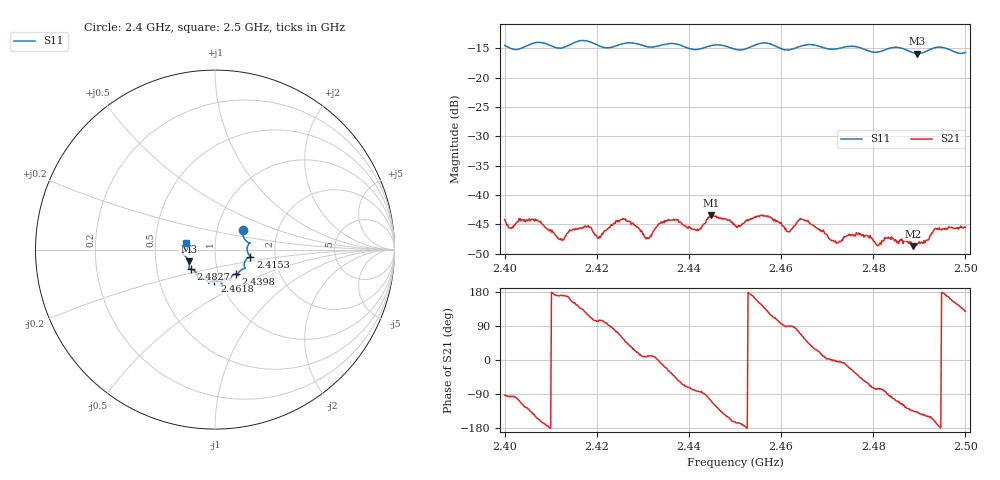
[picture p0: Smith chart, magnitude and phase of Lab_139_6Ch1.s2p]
# Hz S RI R 50
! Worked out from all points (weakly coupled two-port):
!   601 points, 2.4 GHz to 2.5 GHz, reference 50 ohm
!   highest |S21| = -43.42 dB at 2.4448 GHz (marker M1); lowest = -48.7 dB at 2.4887 GHz (marker M2)
!   lowest |S11| = -15.9 dB at 2.4895 GHz (marker M3), VSWR 1.38, Z = 37 - j5.01 ohm
!   |S11| at or under -10 dB: start of sweep to end of sweep
!   S12 and S22 are empty: the file has one direction only
!   S11 on the Smith chart (normalised r, x): 2.4 GHz: 1.33, +0.30; 2.4153 GHz: 1.48, -0.12; 2.4398 GHz: 1.21, -0.34; 2.4618 GHz: 0.94, -0.33; 2.4827 GHz: 0.75, -0.17; 2.5 GHz: 0.72, +0.06
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2.4e9  0.1552 0.107  -0.000228 -0.00618  0 0  0 0
2.407167e9  0.1963 0.0376  -0.00547 -0.00264  0 0  0 0
2.412333e9  0.1787 -0.00453  -0.00406 0.000649  0 0  0 0
2.415333e9  0.1968 -0.0391  -0.00447 0.0026  0 0  0 0
2.416667e9  0.2027 -0.0432  -0.00373 0.00363  0 0  0 0
2.4205e9  0.1803 -0.0492  -0.00113 0.00424  0 0  0 0
2.425667e9  0.1666 -0.1008  0.00351 0.00525  0 0  0 0
2.431e9  0.1425 -0.1156  0.00426 0.000793  0 0  0 0
2.433333e9  0.1296 -0.1339  0.00565 -5.37e-05  0 0  0 0
2.439833e9  0.1154 -0.1357  0.00157 -0.00496  0 0  0 0
2.444833e9  0.084 -0.1679  -0.00207 -0.00642  0 0  0 0
2.45e9  0.0652 -0.1622  -0.00524 -0.00158  0 0  0 0
2.456e9  0.0384 -0.1936  -0.00537 0.00404  0 0  0 0
2.461833e9  -0.00321 -0.1728  0.000122 0.00485  0 0  0 0
2.466667e9  -0.0347 -0.1879  0.00459 0.00323  0 0  0 0
2.472e9  -0.0702 -0.1613  0.00387 -0.000157  0 0  0 0
2.482667e9  -0.1349 -0.1088  0.000442 -0.00425  0 0  0 0
2.483333e9  -0.1402 -0.1085  -0.000224 -0.00437  0 0  0 0
2.488667e9  -0.1432 -0.078  -0.00257 -0.00261  0 0  0 0
2.4895e9  -0.1461 -0.066  -0.00275 -0.00259  0 0  0 0
2.493833e9  -0.1803 -0.0231  -0.005 -0.000981  0 0  0 0
2.5e9  -0.1593 0.0388  -0.0033 0.00415  0 0  0 0
